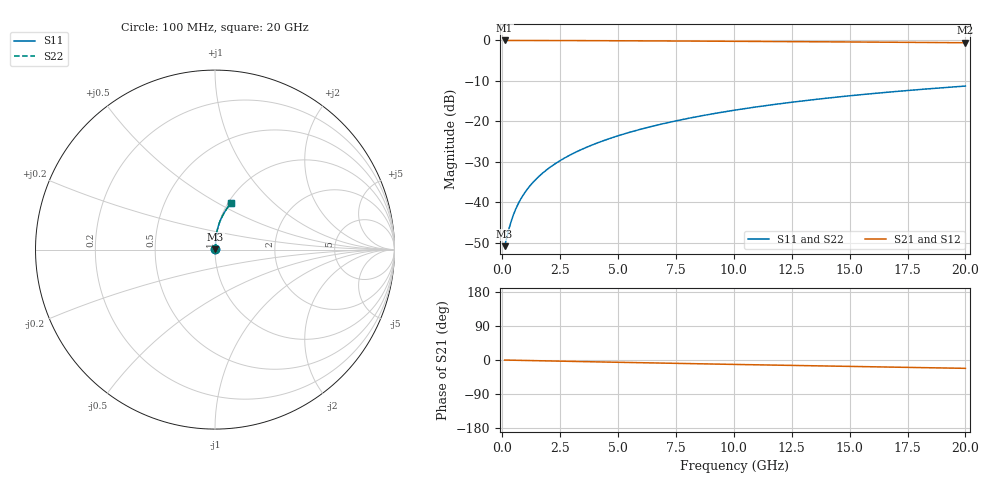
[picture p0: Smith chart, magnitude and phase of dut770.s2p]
! Touchstone file exported from HFSS 2024.1.0
!  File:  C:/UserFiles/LocalFiles/RDL_TSV_Batchsim/temp_RDL_bottom_770_1779860597.aedt
!  Generated:  01:46:05 PM May 27, 2026
!  Design:  RDL_bottom
!  Project:  temp_RDL_bottom_770_1779860597
!  Setup:  Setup1
!  Solution:  Sweep
! Variables:
!  dtsv = 10.80580581um
!  hbump = 3um
!  htsv = 53.15um
!  ldown = 236.17um
!  lrdl = 100um
!  p = 40
!  p1 = 54.99um
!  rhole = 1um
!  t = 450um
!  tdown = 2.1um
!  trdl = 3.915915916um
!  wdown = 18.2um
!  wrdl = 20um
# GHz S MA R 50.000000
! Terminal data exported
! Port[1] = RDL1_T1
! Port[2] = RDL1_T2
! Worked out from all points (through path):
!   200 points, 100 MHz to 20 GHz, reference 50 ohm
!   highest |S21| = -0.02 dB at 100 MHz (marker M1); lowest = -0.6 dB at 20 GHz (marker M2)
!   group delay of S21, straight-line fit = 3.04 ps
!   lowest |S11| = -50.8 dB at 100 MHz (marker M3), VSWR 1.01, Z = 50.3 + j0.138 ohm
!   |S11| at or under -10 dB: start of sweep to end of sweep
!   |S22| runs from -50.8 to -11.3 dB; largest |S21 - S12| = 5.5e-15
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0.1  0.002887 28.4  0.9975 -0.1  0.9975 -0.1  0.002887 28.4
! Gamma 0 0 0 0
! Port Impedance 50 0 50 0
0.3  0.004857 57.3  0.9974 -0.4  0.9974 -0.4  0.004857 57.3
0.4  0.00605 63.7  0.9973 -0.5  0.9973 -0.5  0.00605 63.7
0.5  0.00728 67.9  0.9972 -0.6  0.9972 -0.6  0.00728 67.9
0.6  0.008527 70.8  0.9971 -0.8  0.9971 -0.8  0.008527 70.8
0.7  0.00978 73.0  0.997 -0.9  0.997 -0.9  0.00978 73.0
0.9  0.0123 76.1  0.9968 -1.1  0.9968 -1.1  0.0123 76.1
1.2  0.01609 78.9  0.9965 -1.5  0.9965 -1.5  0.01609 78.9
1.4  0.01863 80.2  0.9963 -1.7  0.9963 -1.7  0.01863 80.2
1.7  0.02248 81.7  0.9959 -2.1  0.9959 -2.1  0.02248 81.7
2.2  0.02894 83.2  0.9953 -2.7  0.9953 -2.7  0.02894 83.2
2.8  0.0368 84.2  0.9943 -3.4  0.9943 -3.4  0.0368 84.2
3.5  0.0461 84.8  0.993 -4.3  0.993 -4.3  0.0461 84.8
4.2  0.05554 85.1  0.9914 -5.1  0.9914 -5.1  0.05554 85.1
5  0.06649 85.0  0.9895 -6.0  0.9895 -6.0  0.06648 85.0
5.9  0.07898 84.8  0.9871 -7.1  0.9871 -7.1  0.07897 84.8
6.8  0.09162 84.3  0.9844 -8.1  0.9844 -8.1  0.09161 84.3
8.4  0.1143 83.1  0.9795 -9.9  0.9795 -9.9  0.1143 83.1
10.1  0.1385 81.5  0.9738 -11.8  0.9738 -11.8  0.1385 81.5
13.4  0.185 78.1  0.9619 -15.3  0.9619 -15.3  0.185 78.1
16.7  0.23 74.5  0.949 -18.7  0.949 -18.7  0.2299 74.5
20  0.2729 71.0  0.9351 -22.0  0.9351 -22.0  0.2729 71.0
